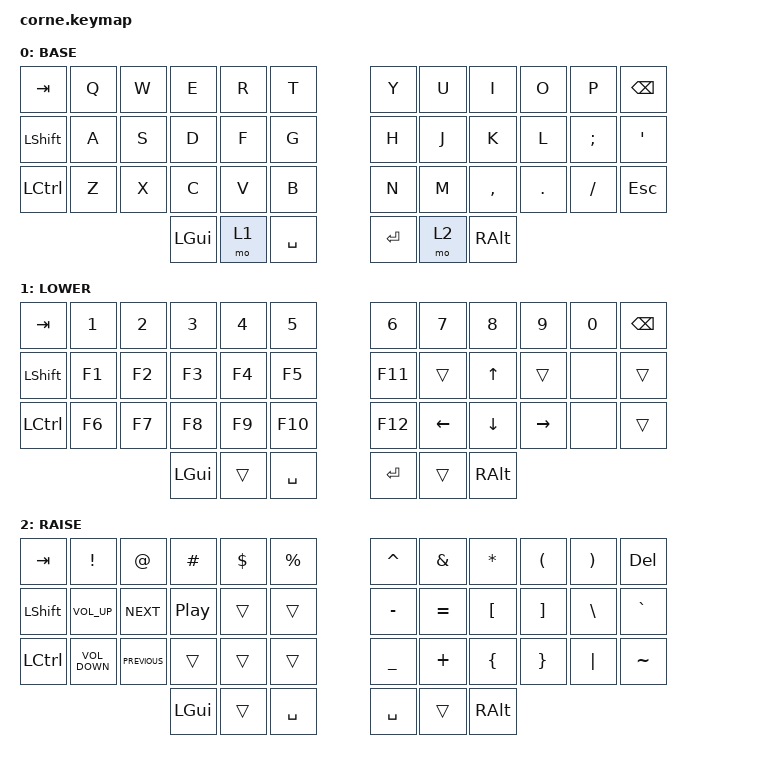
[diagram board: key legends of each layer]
/*
 * Copyright (c) 2020 The ZMK Contributors
 *
 * SPDX-License-Identifier: MIT
 */

#include <behaviors.dtsi>
#include <dt-bindings/zmk/keys.h>

#define LOWER   1
#define RAISE   2

/ {
    keymap {
        compatible = "zmk,keymap";

        default_layer {
            display-name = "BASE";
            bindings = <
&kp TAB         &kp Q  &kp W  &kp E     &kp R  &kp T        &kp Y      &kp U  &kp I      &kp O    &kp P     &kp BSPC
&kp LEFT_SHIFT  &kp A  &kp S  &kp D     &kp F  &kp G        &kp H      &kp J  &kp K      &kp L    &kp SEMI  &kp SQT
&kp LCTRL       &kp Z  &kp X  &kp C     &kp V  &kp B        &kp N      &kp M  &kp COMMA  &kp DOT  &kp FSLH  &kp ESCAPE
                              &kp LGUI  &mo 1  &kp SPACE    &kp ENTER  &mo 2  &kp RALT
            >;
        };

        lower_layer {
            display-name = "LOWER";
            bindings = <
&kp TAB         &kp NUMBER_1  &kp NUMBER_2  &kp NUMBER_3  &kp NUMBER_4  &kp N5       &kp NUMBER_6  &kp NUMBER_7  &kp N8    &kp N9     &kp N0  &kp BACKSPACE
&kp LEFT_SHIFT  &kp F1        &kp F2        &kp F3        &kp F4        &kp F5       &kp F11       &trans        &kp UP    &trans     &none   &trans
&kp LCTRL       &kp F6        &kp F7        &kp F8        &kp F9        &kp F10      &kp F12       &kp LEFT      &kp DOWN  &kp RIGHT  &none   &trans
                                            &kp LGUI      &trans        &kp SPACE    &kp ENTER     &trans        &kp RALT
            >;
        };

        raise_layer {
            display-name = "RAISE";
            bindings = <
&kp TAB         &kp EXCL           &kp AT          &kp POUND         &kp DOLLAR  &kp PERCENT    &kp CARET  &kp AMPS   &kp STAR          &kp LEFT_PARENTHESIS  &kp RIGHT_PARENTHESIS  &kp DELETE
&kp LEFT_SHIFT  &kp C_VOLUME_UP    &kp C_NEXT      &kp C_PLAY_PAUSE  &trans      &trans         &kp MINUS  &kp EQUAL  &kp LEFT_BRACKET  &kp RIGHT_BRACKET     &kp BACKSLASH          &kp GRAVE
&kp LCTRL       &kp C_VOLUME_DOWN  &kp C_PREVIOUS  &trans            &trans      &trans         &kp UNDER  &kp PLUS   &kp LEFT_BRACE    &kp RIGHT_BRACE       &kp PIPE               &kp TILDE
                                                   &kp LGUI          &trans      &kp SPACE      &kp SPACE  &trans     &kp RALT
            >;
        };
    };
};
